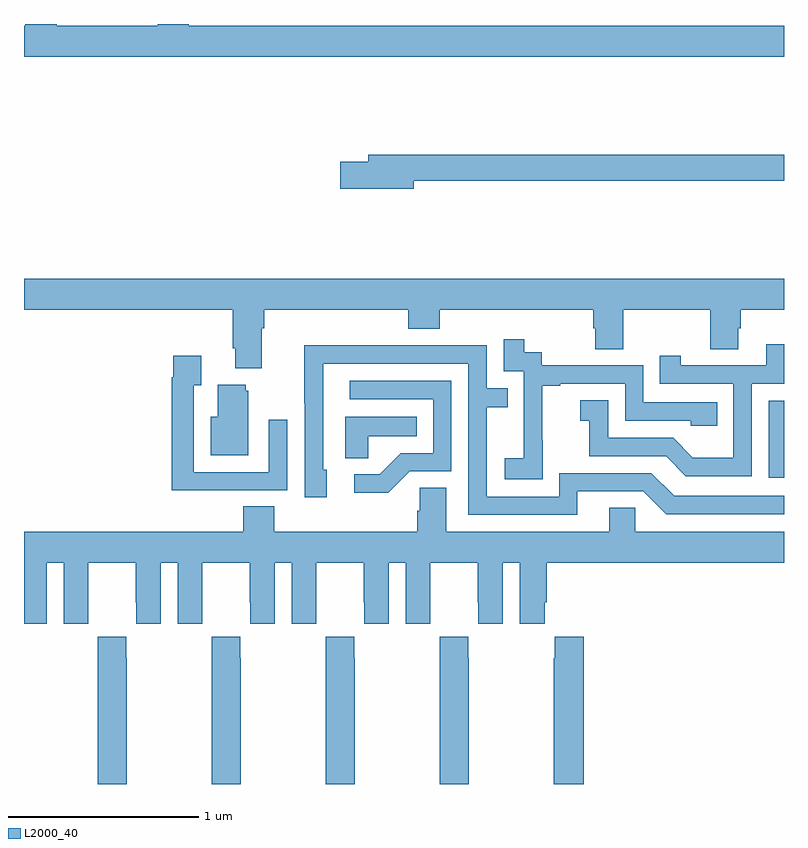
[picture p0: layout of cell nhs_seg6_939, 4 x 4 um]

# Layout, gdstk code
import gdstk
lib = gdstk.Library(unit=1e-6, precision=1e-09)
def R(c, l, rs):  # rectangles x0, y0, x1, y1
    for r in rs: c.add(gdstk.rectangle(r[:2], r[2:], *l))
def P(c, l, *ps):  # polygons
    for p in ps: c.add(gdstk.Polygon(p, *l))
L2000_40 = (2000, 40)

nhs_seg6_939 = lib.new_cell('nhs_seg6_939')
R(nhs_seg6_939, L2000_40, [(172.92,953.112,173,953.517)])
P(nhs_seg6_939, L2000_40, [(173,955.492),(169.868,955.492),(169.868,955.5),(169.703,955.5),(169.703,955.492),(169.172,955.492),(169.172,955.5),(169.007,955.5),(169.007,955.492),(169,955.492),(169,955.328),(173,955.328)],
  [(171.052,954.676),(173,954.676),(173,954.812),(170.813,954.812),(170.813,954.776),(170.664,954.776),(170.664,954.634),(171.052,954.634)],
  [(170.251,953.9),(170.264,953.9),(170.264,953.996),(171.023,953.996),(171.023,953.897),(171.188,953.897),(171.188,953.996),(171.995,953.996),(171.995,953.898),(172.007,953.898),(172.007,953.788),(172.155,953.788),(172.155,953.996),(172.612,953.996),(172.612,953.788),(172.759,953.788),(172.759,953.898),(172.772,953.898),(172.772,953.996),(173,953.996),(173,954.16),(169,954.16),(169,953.996),(170.099,953.996),(170.099,953.794),(170.111,953.794),(170.111,953.687),(170.251,953.687)],
  [(171.729,953.311),(171.728,953.311),(171.728,953.595),(171.823,953.595),(171.823,953.607),(172.164,953.607),(172.164,953.412),(172.509,953.412),(172.509,953.385),(172.649,953.385),(172.649,953.508),(172.26,953.508),(172.26,953.703),(171.726,953.703),(171.726,953.772),(171.634,953.772),(171.634,953.842),(171.525,953.842),(171.525,953.673),(171.63,953.673),(171.63,953.444),(171.629,953.444),(171.629,953.215),(171.531,953.215),(171.531,953.105),(171.729,953.105)],
  [(172.83,953.607),(173,953.607),(173,953.815),(172.907,953.815),(172.907,953.703),(172.456,953.703),(172.456,953.755),(172.345,953.755),(172.345,953.607),(172.734,953.607),(172.734,953.218),(172.52,953.218),(172.416,953.322),(172.074,953.322),(172.074,953.521),(171.927,953.521),(171.927,953.411),(171.976,953.411),(171.976,953.226),(172.379,953.226),(172.484,953.121),(172.83,953.121)],
  [(171.913,953.04),(172.26,953.04),(172.38,952.92),(173,952.92),(173,953.016),(172.422,953.016),(172.302,953.136),(171.816,953.136),(171.816,953.013),(171.435,953.013),(171.435,953.482),(171.545,953.482),(171.545,953.583),(171.435,953.583),(171.435,953.808),(170.939,953.808),(170.939,953.81),(170.476,953.81),(170.476,953.503),(170.478,953.503),(170.478,953.01),(170.593,953.01),(170.593,953.154),(170.574,953.154),(170.574,953.712),(171.339,953.712),(171.339,952.917),(171.913,952.917)],
  [(170.069,953.046),(170.385,953.046),(170.385,953.416),(170.289,953.416),(170.289,953.142),(169.893,953.142),(169.893,953.599),(169.933,953.599),(169.933,953.755),(169.785,953.755),(169.785,953.642),(169.777,953.642),(169.777,953.045),(170.069,953.045)],
  [(171.03,953.145),(171.249,953.145),(171.249,953.622),(170.715,953.622),(170.715,953.526),(171.153,953.526),(171.153,953.241),(170.984,953.241),(170.873,953.13),(170.739,953.13),(170.739,953.033),(170.917,953.033)],
  [(170.179,953.571),(170.168,953.571),(170.168,953.602),(170.021,953.602),(170.021,953.434),(169.982,953.434),(169.982,953.231),(170.179,953.231)],
  [(170.811,953.33),(171.068,953.33),(171.068,953.434),(170.69,953.434),(170.69,953.215),(170.811,953.215)],
  [(169,952.344),(169.12,952.344),(169.12,952.664),(169.208,952.664),(169.208,952.344),(169.338,952.344),(169.338,952.456),(169.339,952.456),(169.339,952.664),(169.589,952.664),(169.589,952.456),(169.59,952.456),(169.59,952.344),(169.72,952.344),(169.72,952.664),(169.808,952.664),(169.808,952.344),(169.938,952.344),(169.938,952.456),(169.939,952.456),(169.939,952.664),(170.189,952.664),(170.189,952.456),(170.19,952.456),(170.19,952.344),(170.32,952.344),(170.32,952.664),(170.408,952.664),(170.408,952.344),(170.538,952.344),(170.538,952.456),(170.539,952.456),(170.539,952.664),(170.789,952.664),(170.789,952.456),(170.79,952.456),(170.79,952.344),(170.92,952.344),(170.92,952.664),(171.008,952.664),(171.008,952.344),(171.138,952.344),(171.138,952.456),(171.139,952.456),(171.139,952.664),(171.389,952.664),(171.389,952.456),(171.39,952.456),(171.39,952.344),(171.52,952.344),(171.52,952.664),(171.608,952.664),(171.608,952.344),(171.742,952.344),(171.742,952.456),(171.752,952.456),(171.752,952.664),(173,952.664),(173,952.828),(172.218,952.828),(172.218,952.955),(172.079,952.955),(172.079,952.828),(171.223,952.828),(171.223,953.06),(171.084,953.06),(171.084,952.937),(171.071,952.937),(171.071,952.828),(170.318,952.828),(170.318,952.961),(170.153,952.961),(170.153,952.828),(169,952.828)],
  [(170.142,952.163),(170.139,952.163),(170.139,952.276),(169.989,952.276),(169.989,952.163),(169.987,952.163),(169.987,951.5),(170.142,951.5)],
  [(170.742,952.163),(170.739,952.163),(170.739,952.276),(170.589,952.276),(170.589,952.163),(170.587,952.163),(170.587,951.5),(170.742,951.5)],
  [(171.342,952.163),(171.339,952.163),(171.339,952.276),(171.189,952.276),(171.189,952.163),(171.187,952.163),(171.187,951.5),(171.342,951.5)],
  [(171.947,952.276),(171.793,952.276),(171.793,952.163),(171.787,952.163),(171.787,951.5),(171.947,951.5)],
  [(169.542,952.163),(169.539,952.163),(169.539,952.276),(169.389,952.276),(169.389,952.163),(169.387,952.163),(169.387,951.5),(169.542,951.5)])

lib.write_gds('nhs_seg6_939.gds')
